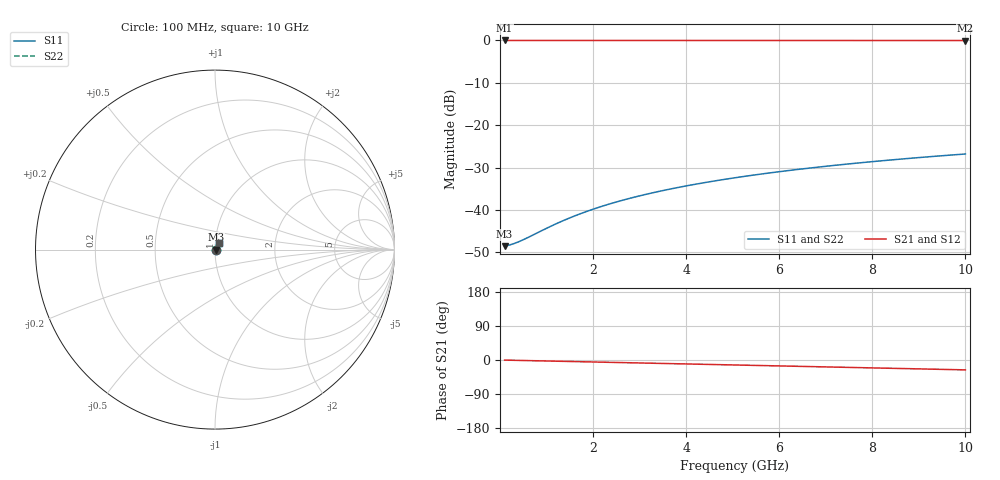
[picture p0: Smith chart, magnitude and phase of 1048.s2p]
# Hz S RI R 50.00
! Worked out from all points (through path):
!   100 points, 100 MHz to 10 GHz, reference 50 ohm
!   highest |S21| = -0.03 dB at 100 MHz (marker M1); lowest = 0.0 dB at 10 GHz (marker M2)
!   group delay of S21, straight-line fit = 7.24 ps
!   lowest |S11| = -48.5 dB at 100 MHz (marker M3), VSWR 1.01, Z = 50.4 + j0.046 ohm
!   |S11| at or under -10 dB: start of sweep to end of sweep
!   |S22| runs from -48.5 to -26.8 dB; largest |S21 - S12| = 0
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1e8  0.00371 0.000456  0.9963 -0.00453  0.9963 -0.00453  0.00371 0.000456
2e8  0.00374 0.000912  0.9962 -0.00905  0.9962 -0.00905  0.00374 0.000912
3e8  0.00377 0.00137  0.9961 -0.0136  0.9961 -0.0136  0.00377 0.00137
4e8  0.0038 0.00182  0.9961 -0.0181  0.9961 -0.0181  0.0038 0.00182
6e8  0.00386 0.00273  0.9958 -0.0272  0.9958 -0.0272  0.00386 0.00273
1e9  0.00402 0.00455  0.9951 -0.0452  0.9951 -0.0452  0.00402 0.00455
1.2e9  0.00412 0.00546  0.9946 -0.0543  0.9946 -0.0543  0.00412 0.00546
1.5e9  0.00431 0.00681  0.9938 -0.0678  0.9938 -0.0678  0.00431 0.00681
1.8e9  0.00453 0.00816  0.9927 -0.0814  0.9927 -0.0814  0.00453 0.00816
2.1e9  0.00478 0.0095  0.9915 -0.0949  0.9915 -0.0949  0.00478 0.0095
2.5e9  0.00518 0.0113  0.9895 -0.1129  0.9895 -0.1129  0.00518 0.0113
2.9e9  0.00564 0.013  0.9873 -0.1308  0.9873 -0.1308  0.00564 0.013
3.4e9  0.0063 0.0152  0.984 -0.1532  0.984 -0.1532  0.0063 0.0152
3.8e9  0.0069 0.0169  0.981 -0.1711  0.981 -0.1711  0.0069 0.0169
4.2e9  0.00756 0.0186  0.9776 -0.1889  0.9776 -0.1889  0.00756 0.0186
4.6e9  0.00829 0.0203  0.974 -0.2066  0.974 -0.2066  0.00829 0.0203
5.1e9  0.00928 0.0223  0.969 -0.2287  0.969 -0.2287  0.00928 0.0223
5.9e9  0.0111 0.0255  0.9599 -0.2638  0.9599 -0.2638  0.0111 0.0255
6.7e9  0.0131 0.0285  0.9495 -0.2985  0.9495 -0.2985  0.0131 0.0285
7.5e9  0.0153 0.0314  0.9379 -0.3328  0.9379 -0.3328  0.0153 0.0314
8.4e9  0.018 0.0344  0.9233 -0.3708  0.9233 -0.3708  0.018 0.0344
1e10  0.0235 0.0392  0.8935 -0.4369  0.8935 -0.4369  0.0235 0.0392
